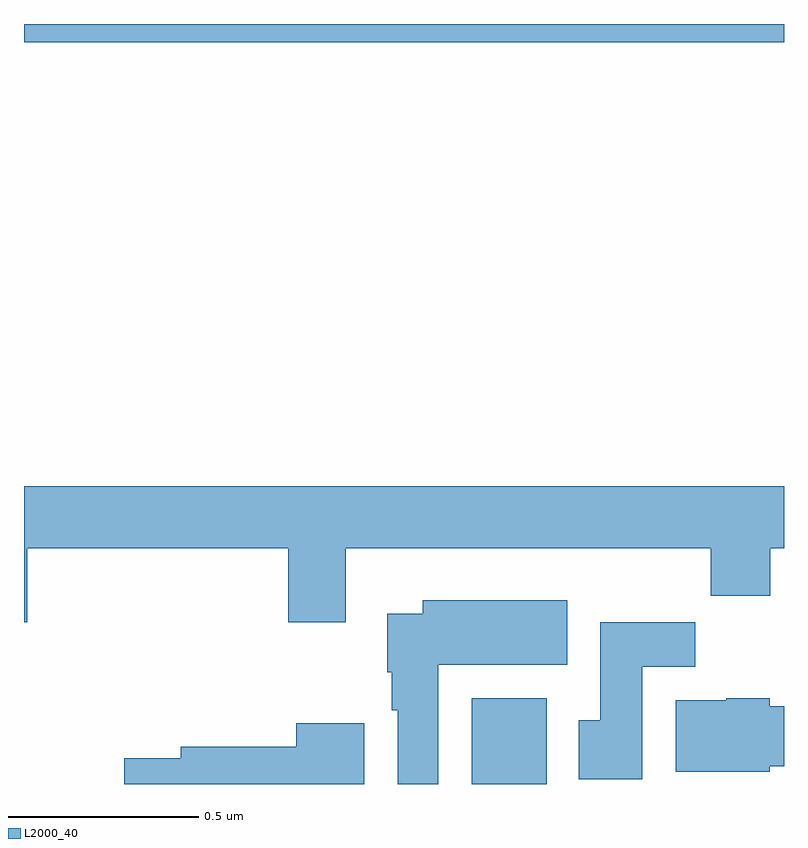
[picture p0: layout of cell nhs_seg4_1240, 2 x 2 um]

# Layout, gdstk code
import gdstk
lib = gdstk.Library(unit=1e-6, precision=1e-09)
def R(c, l, rs):  # rectangles x0, y0, x1, y1
    for r in rs: c.add(gdstk.rectangle(r[:2], r[2:], *l))
def P(c, l, *ps):  # polygons
    for p in ps: c.add(gdstk.Polygon(p, *l))
L2000_40 = (2000, 40)

nhs_seg4_1240 = lib.new_cell('nhs_seg4_1240')
R(nhs_seg4_1240, L2000_40, [(127.178,762.9,127.375,763.126), (126,764.852,128,764.9)])
P(nhs_seg4_1240, L2000_40, [(126.008,763.52),(126.695,763.52),(126.695,763.326),(126.847,763.326),(126.847,763.52),(127.807,763.52),(127.807,763.396),(127.964,763.396),(127.964,763.52),(128,763.52),(128,763.684),(126,763.684),(126,763.326),(126.008,763.326)],
  [(127.09,763.214),(127.429,763.214),(127.429,763.384),(127.049,763.384),(127.049,763.348),(126.956,763.348),(126.956,763.194),(126.968,763.194),(126.968,763.094),(126.983,763.094),(126.983,762.9),(127.09,762.9)],
  [(127.627,763.208),(127.766,763.208),(127.766,763.326),(127.517,763.326),(127.517,763.068),(127.46,763.068),(127.46,762.912),(127.627,762.912)],
  [(127.962,762.947),(128,762.947),(128,763.105),(127.962,763.105),(127.962,763.126),(127.848,763.126),(127.848,763.12),(127.715,763.12),(127.715,762.932),(127.962,762.932)],
  [(126.895,763.06),(126.716,763.06),(126.716,762.998),(126.413,762.998),(126.413,762.968),(126.264,762.968),(126.264,762.9),(126.895,762.9)])

lib.write_gds('nhs_seg4_1240.gds')
